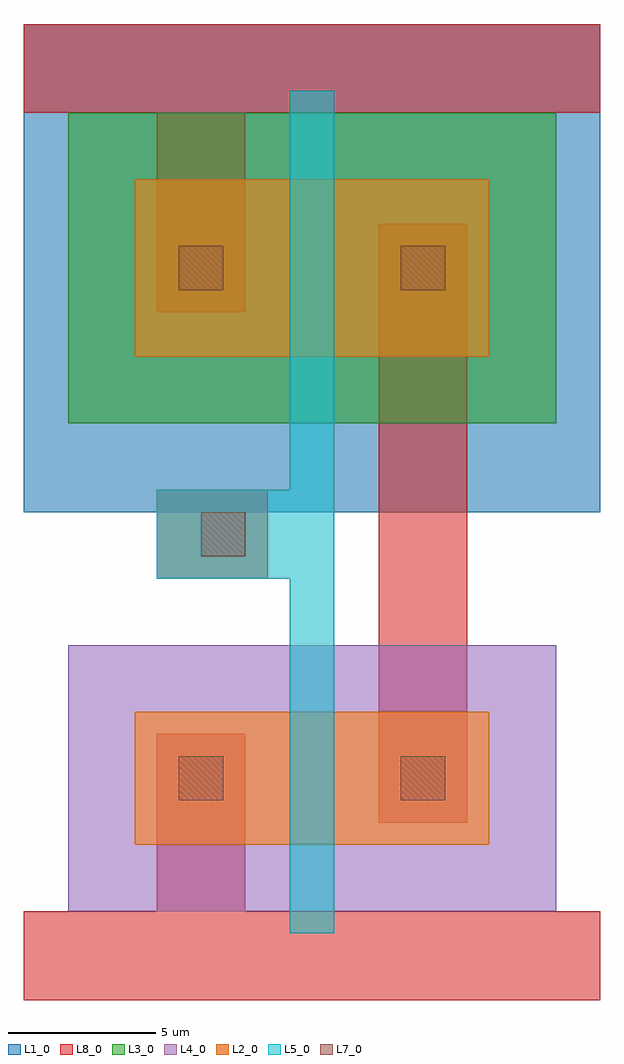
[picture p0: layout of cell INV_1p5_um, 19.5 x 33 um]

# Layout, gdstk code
import gdstk
lib = gdstk.Library(unit=1e-6, precision=1e-12)
def R(c, l, rs):  # rectangles x0, y0, x1, y1
    for r in rs: c.add(gdstk.rectangle(r[:2], r[2:], *l))
L1_0 = (1, 0)
L2_0 = (2, 0)
L3_0 = (3, 0)
L4_0 = (4, 0)
L5_0 = (5, 0)
L7_0 = (7, 0)
L8_0 = (8, 0)

inv_1p5_um = lib.new_cell('INV_1p5_um')
R(inv_1p5_um, L1_0, [(0,16.5,19.5,33)])
R(inv_1p5_um, L2_0, [(3.75,5.25,15.75,9.75), (3.75,21.75,15.75,27.75)])
R(inv_1p5_um, L3_0, [(1.5,19.5,18,30)])
R(inv_1p5_um, L4_0, [(1.5,3,18,12)])
R(inv_1p5_um, L5_0, [(9,2.25,10.5,30.75), (4.5,14.25,10.5,17.25)])
R(inv_1p5_um, L7_0, [(5.25,6.75,6.75,8.25), (12.75,6.75,14.25,8.25), (6,15,7.5,16.5), (5.25,24,6.75,25.5), (12.75,24,14.25,25.5)])
R(inv_1p5_um, L8_0, [(0,0,19.5,3), (4.5,0,7.5,9), (12,6,15,26.25), (4.5,14.25,8.25,17.25), (4.5,23.25,7.5,33), (0,30,19.5,33)])

lib.write_gds('INV_1p5_um.gds')
